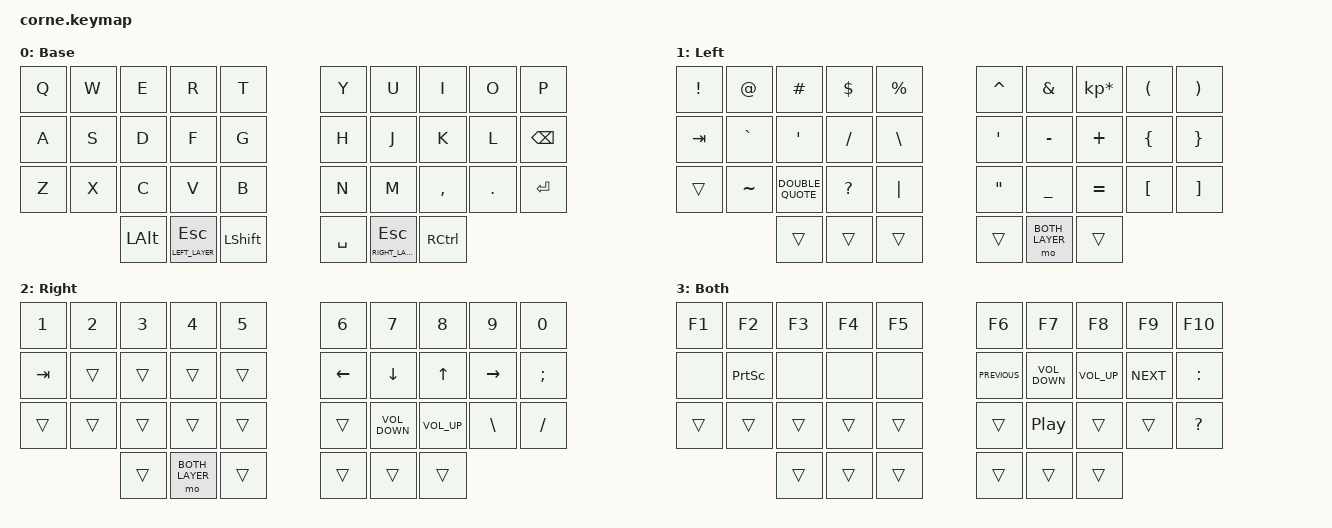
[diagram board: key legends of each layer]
/*
 * Copyright (c) 2020 The ZMK Contributors
 *
 * SPDX-License-Identifier: MIT
 */

#include <behaviors.dtsi>
#include <dt-bindings/zmk/keys.h>
#include <dt-bindings/zmk/bt.h>


#define _AS(keycode) &as LS(keycode) keycode
#define LEFT_LAYER 1
#define RIGHT_LAYER 2
#define BOTH_LAYER 3


/ {
    chosen {
      zmk,matrix_transform = &five_column_transform;
    };

    behaviors {
        as: auto_shift {
            compatible = "zmk,behavior-hold-tap";
            #binding-cells = <2>;
            tapping_term_ms = <300>;
            quick_tap_ms = <0>;
            flavor = "tap-preferred";
            bindings = <&kp>, <&kp>;
        };
    };

        keymap {
                compatible = "zmk,keymap";

                default_layer {
                        display-name = "Base";
                        bindings = <
//        ┌───────┬───────┬──────────┬───────────────────────┬────────────┐   ┌───────────┬────────────────────────┬───────────────────┬─────────┬───────────────┐
//        │ &kp Q │ &kp W │  &kp E   │         &kp R         │   &kp T    │   │   &kp Y   │         &kp U          │       &kp I       │  &kp O  │     &kp P     │
//        ├───────┼───────┼──────────┼───────────────────────┼────────────┤   ├───────────┼────────────────────────┼───────────────────┼─────────┼───────────────┤
//        │ &kp A │ &kp S │  &kp D   │         &kp F         │   &kp G    │   │   &kp H   │         &kp J          │       &kp K       │  &kp L  │ &kp BACKSPACE │
//        ├───────┼───────┼──────────┼───────────────────────┼────────────┤   ├───────────┼────────────────────────┼───────────────────┼─────────┼───────────────┤
//        │ &kp Z │ &kp X │  &kp C   │         &kp V         │   &kp B    │   │   &kp N   │         &kp M          │     &kp COMMA     │ &kp DOT │  &kp RETURN   │
//        └───────┴───────┼──────────┼───────────────────────┼────────────┤   ├───────────┼────────────────────────┼───────────────────┼─────────┴───────────────┘
//                        │ &kp LALT │ &lt LEFT_LAYER ESCAPE │ &kp LSHIFT │   │ &kp SPACE │ &lt RIGHT_LAYER ESCAPE │ &kp RIGHT_CONTROL │                          
//                        └──────────┴───────────────────────┴────────────┘   └───────────┴────────────────────────┴───────────────────┘                          
      &kp Q   &kp W   &kp E      &kp R                   &kp T            &kp Y       &kp U                    &kp I               &kp O     &kp P        
      &kp A   &kp S   &kp D      &kp F                   &kp G            &kp H       &kp J                    &kp K               &kp L     &kp BACKSPACE
      &kp Z   &kp X   &kp C      &kp V                   &kp B            &kp N       &kp M                    &kp COMMA           &kp DOT   &kp RETURN   
                      &kp LALT   &lt LEFT_LAYER ESCAPE   &kp LSHIFT       &kp SPACE   &lt RIGHT_LAYER ESCAPE   &kp RIGHT_CONTROL                          
                        >;
                };

                left_layer {
                        display-name = "Left";
                        bindings = <
//        ┌──────────┬───────────┬──────────────────┬──────────────┬───────────────┐   ┌───────────────────┬────────────────┬─────────────────┬──────────────────┬───────────────────┐
//        │ &kp EXCL │  &kp AT   │     &kp HASH     │  &kp DOLLAR  │   &kp PRCNT   │   │     &kp CARET     │    &kp AMPS    │ &kp KP_MULTIPLY │     &kp LPAR     │     &kp RPAR      │
//        ├──────────┼───────────┼──────────────────┼──────────────┼───────────────┤   ├───────────────────┼────────────────┼─────────────────┼──────────────────┼───────────────────┤
//        │ &kp TAB  │ &kp GRAVE │ &kp SINGLE_QUOTE │  &kp SLASH   │ &kp BACKSLASH │   │ &kp SINGLE_QUOTE  │   &kp MINUS    │    &kp PLUS     │  &kp LEFT_BRACE  │  &kp RIGHT_BRACE  │
//        ├──────────┼───────────┼──────────────────┼──────────────┼───────────────┤   ├───────────────────┼────────────────┼─────────────────┼──────────────────┼───────────────────┤
//        │  &trans  │ &kp TILDE │ &kp DOUBLE_QUOTE │ &kp QUESTION │   &kp PIPE    │   │ &kp DOUBLE_QUOTES │ &kp UNDERSCORE │    &kp EQUAL    │ &kp LEFT_BRACKET │ &kp RIGHT_BRACKET │
//        └──────────┴───────────┼──────────────────┼──────────────┼───────────────┤   ├───────────────────┼────────────────┼─────────────────┼──────────────────┴───────────────────┘
//                               │      &trans      │    &trans    │    &trans     │   │      &trans       │ &mo BOTH_LAYER │     &trans      │                                       
//                               └──────────────────┴──────────────┴───────────────┘   └───────────────────┴────────────────┴─────────────────┘                                       
      &kp EXCL   &kp AT      &kp HASH           &kp DOLLAR     &kp PRCNT           &kp CARET           &kp AMPS         &kp KP_MULTIPLY   &kp LPAR           &kp RPAR         
      &kp TAB    &kp GRAVE   &kp SINGLE_QUOTE   &kp SLASH      &kp BACKSLASH       &kp SINGLE_QUOTE    &kp MINUS        &kp PLUS          &kp LEFT_BRACE     &kp RIGHT_BRACE  
      &trans     &kp TILDE   &kp DOUBLE_QUOTE   &kp QUESTION   &kp PIPE            &kp DOUBLE_QUOTES   &kp UNDERSCORE   &kp EQUAL         &kp LEFT_BRACKET   &kp RIGHT_BRACKET
                             &trans             &trans         &trans              &trans              &mo BOTH_LAYER   &trans                                                
                        >;
                };

                right_layer {
                        display-name = "Right";
                        bindings = <
//        ┌─────────┬────────┬────────┬────────────────┬────────┐   ┌──────────┬───────────────────┬─────────────────┬───────────────┬───────────────┐
//        │ &kp N1  │ &kp N2 │ &kp N3 │     &kp N4     │ &kp N5 │   │  &kp N6  │      &kp N7       │     &kp N8      │    &kp N9     │    &kp N0     │
//        ├─────────┼────────┼────────┼────────────────┼────────┤   ├──────────┼───────────────────┼─────────────────┼───────────────┼───────────────┤
//        │ &kp TAB │ &trans │ &trans │     &trans     │ &trans │   │ &kp LEFT │     &kp DOWN      │     &kp UP      │   &kp RIGHT   │ &kp SEMICOLON │
//        ├─────────┼────────┼────────┼────────────────┼────────┤   ├──────────┼───────────────────┼─────────────────┼───────────────┼───────────────┤
//        │ &trans  │ &trans │ &trans │     &trans     │ &trans │   │  &trans  │ &kp C_VOLUME_DOWN │ &kp C_VOLUME_UP │ &kp BACKSLASH │   &kp SLASH   │
//        └─────────┴────────┼────────┼────────────────┼────────┤   ├──────────┼───────────────────┼─────────────────┼───────────────┴───────────────┘
//                           │ &trans │ &mo BOTH_LAYER │ &trans │   │  &trans  │      &trans       │     &trans      │                                
//                           └────────┴────────────────┴────────┘   └──────────┴───────────────────┴─────────────────┘                                
      &kp N1    &kp N2   &kp N3   &kp N4           &kp N5       &kp N6     &kp N7              &kp N8            &kp N9          &kp N0       
      &kp TAB   &trans   &trans   &trans           &trans       &kp LEFT   &kp DOWN            &kp UP            &kp RIGHT       &kp SEMICOLON
      &trans    &trans   &trans   &trans           &trans       &trans     &kp C_VOLUME_DOWN   &kp C_VOLUME_UP   &kp BACKSLASH   &kp SLASH    
                         &trans   &mo BOTH_LAYER   &trans       &trans     &trans              &trans                                         
                        >;
                };

                both_layer {
                        display-name = "Both";
                        bindings = <
//        ┌────────┬─────────────────┬────────┬────────┬────────┐   ┌────────────────┬───────────────────┬─────────────────┬────────────┬──────────────┐
//        │ &kp F1 │     &kp F2      │ &kp F3 │ &kp F4 │ &kp F5 │   │     &kp F6     │      &kp F7       │     &kp F8      │   &kp F9   │   &kp F10    │
//        ├────────┼─────────────────┼────────┼────────┼────────┤   ├────────────────┼───────────────────┼─────────────────┼────────────┼──────────────┤
//        │ &none  │ &kp PRINTSCREEN │ &none  │ &none  │ &none  │   │ &kp C_PREVIOUS │ &kp C_VOLUME_DOWN │ &kp C_VOLUME_UP │ &kp C_NEXT │  &kp COLON   │
//        ├────────┼─────────────────┼────────┼────────┼────────┤   ├────────────────┼───────────────────┼─────────────────┼────────────┼──────────────┤
//        │ &trans │     &trans      │ &trans │ &trans │ &trans │   │     &trans     │ &kp C_PLAY_PAUSE  │     &trans      │   &trans   │ &kp QUESTION │
//        └────────┴─────────────────┼────────┼────────┼────────┤   ├────────────────┼───────────────────┼─────────────────┼────────────┴──────────────┘
//                                   │ &trans │ &trans │ &trans │   │     &trans     │      &trans       │     &trans      │                            
//                                   └────────┴────────┴────────┘   └────────────────┴───────────────────┴─────────────────┘                            
      &kp F1   &kp F2            &kp F3   &kp F4   &kp F5       &kp F6           &kp F7              &kp F8            &kp F9       &kp F10     
      &none    &kp PRINTSCREEN   &none    &none    &none        &kp C_PREVIOUS   &kp C_VOLUME_DOWN   &kp C_VOLUME_UP   &kp C_NEXT   &kp COLON   
      &trans   &trans            &trans   &trans   &trans       &trans           &kp C_PLAY_PAUSE    &trans            &trans       &kp QUESTION
                                 &trans   &trans   &trans       &trans           &trans              &trans                                     
                        >;
                };




        };
};

/ {
    macros {
        : zed_em_kay {
            compatible = "zmk,behavior-macro";
            #binding-cells = <0>;
            bindings
                = <&macro_press &kp LSHFT>
                , <&macro_tap &kp Z &kp M &kp K>
                , <&macro_release &kp LSHFT>
                ;
        };
    };
    combos {
        compatible = "zmk,combos";
        // combo_TAB{
        //     timeout-ms = <50>;
        //     key-positions = <0 1>;
        //     bindings = <&kp TAB>;
        // };
        // combo_esc {
        //     timeout-ms = <50>;
        //     key-positions = <10 11>;
        //     bindings = <&kp ESC>;
        // };
        // combo_backspace{
        //     timeout-ms = <50>;
        //     require-prior-idle-ms=<50>;
        //     key-positions = <8 9>;
        //     bindings = <&kp BSPC>;
        // };
        // combo_return{
        //     timeout-ms = <50>;
        //     key-positions = <18 19>;
        //     bindings = <&kp RET>;
        // };
        // combo_LCTRL{
        //     timeout-ms = <50>;
        //     key-positions = <20 21>;
        //     bindings = <&kp LCTRL>;
        // };
        // combo_RCTRL{
        //     timeout-ms = <50>;
        //     key-positions = <28 29>;
        //     bindings = <&kp RCTRL>;
        // };
    };
};
